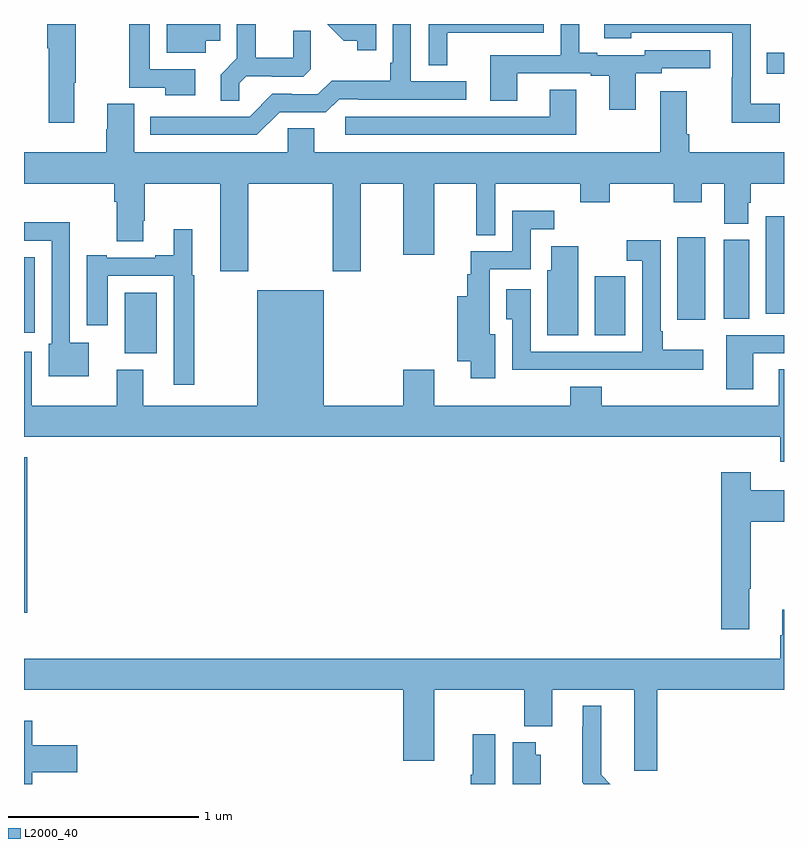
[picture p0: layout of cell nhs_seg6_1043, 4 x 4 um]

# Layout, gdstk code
import gdstk
lib = gdstk.Library(unit=1e-6, precision=1e-09)
def R(c, l, rs):  # rectangles x0, y0, x1, y1
    for r in rs: c.add(gdstk.rectangle(r[:2], r[2:], *l))
def P(c, l, *ps):  # polygons
    for p in ps: c.add(gdstk.Polygon(p, *l))
L2000_40 = (2000, 40)

nhs_seg6_1043 = lib.new_cell('nhs_seg6_1043')
R(nhs_seg6_1043, L2000_40, [(175,954.402,175.016,955.219), (175.529,955.766,175.699,956.086), (178.004,955.861,178.165,956.172), (175,955.875,175.057,956.273), (178.439,955.944,178.585,956.377), (178.682,955.948,178.816,956.364), (178.904,955.976,179,956.488), (178.909,957.239,179,957.349)])
P(nhs_seg6_1043, L2000_40, [(178.978,957.079),(178.824,957.079),(178.824,957.5),(178.053,957.5),(178.053,957.425),(178.197,957.425),(178.197,957.453),(178.728,957.453),(178.728,957.221),(178.726,957.221),(178.726,956.981),(178.978,956.981)],
  [(177.228,957.453),(177.623,957.453),(177.623,957.454),(177.736,957.454),(177.736,957.5),(177.129,957.5),(177.129,957.283),(177.228,957.283)],
  [(178.219,957.24),(178.356,957.24),(178.356,957.267),(178.612,957.267),(178.612,957.363),(178.266,957.363),(178.266,957.336),(178.018,957.336),(178.018,957.349),(177.922,957.349),(177.922,957.5),(177.825,957.5),(177.825,957.336),(177.455,957.336),(177.455,957.097),(177.595,957.097),(177.595,957.24),(177.983,957.24),(177.983,957.228),(178.079,957.228),(178.079,957.048),(178.219,957.048)],
  [(176.133,957.188),(176.17,957.225),(176.304,957.225),(176.304,957.222),(176.469,957.222),(176.51,957.263),(176.51,957.465),(176.416,957.465),(176.416,957.322),(176.219,957.322),(176.219,957.5),(176.121,957.5),(176.121,957.319),(176.035,957.233),(176.035,957.097),(176.133,957.097)],
  [(175.264,957.191),(175.272,957.191),(175.272,957.5),(175.123,957.5),(175.123,957.373),(175.13,957.373),(175.13,956.979),(175.264,956.979)],
  [(176.855,957.5),(176.597,957.5),(176.684,957.413),(176.754,957.413),(176.754,957.363),(176.855,957.363)],
  [(175.9,957.261),(175.662,957.261),(175.662,957.5),(175.554,957.5),(175.554,957.165),(175.744,957.165),(175.744,957.125),(175.9,957.125)],
  [(175.957,957.413),(176.032,957.413),(176.032,957.5),(175.751,957.5),(175.751,957.35),(175.957,957.35)],
  [(176.346,957.036),(176.589,957.036),(176.658,957.105),(176.758,957.105),(176.758,957.102),(177.328,957.102),(177.328,957.198),(177.036,957.198),(177.036,957.5),(176.94,957.5),(176.94,957.295),(176.928,957.295),(176.928,957.202),(176.62,957.202),(176.547,957.129),(176.408,957.129),(176.408,957.132),(176.307,957.132),(176.187,957.012),(175.664,957.012),(175.664,956.916),(176.226,956.916)],
  [(177.907,957.155),(177.767,957.155),(177.767,957.012),(176.691,957.012),(176.691,956.916),(177.907,956.916)],
  [(176.181,956.66),(176.626,956.66),(176.626,956.199),(176.773,956.199),(176.773,956.66),(176.996,956.66),(176.996,956.286),(177.16,956.286),(177.16,956.66),(177.38,956.66),(177.38,956.389),(177.481,956.389),(177.481,956.66),(177.928,956.66),(177.928,956.561),(178.083,956.561),(178.083,956.66),(178.42,956.66),(178.42,956.561),(178.567,956.561),(178.567,956.66),(178.685,956.66),(178.685,956.449),(178.813,956.449),(178.813,956.559),(178.826,956.559),(178.826,956.66),(179,956.66),(179,956.824),(178.502,956.824),(178.502,956.92),(178.489,956.92),(178.489,957.145),(178.349,957.145),(178.349,956.824),(176.527,956.824),(176.527,956.951),(176.388,956.951),(176.388,956.824),(175.579,956.824),(175.579,957.08),(175.439,957.08),(175.439,956.946),(175.432,956.946),(175.432,956.824),(175,956.824),(175,956.66),(175.475,956.66),(175.475,956.564),(175.487,956.564),(175.487,956.356),(175.627,956.356),(175.627,956.464),(175.635,956.464),(175.635,956.66),(176.033,956.66),(176.033,956.199),(176.181,956.199)],
  [(177.481,955.867),(177.451,955.867),(177.451,956.208),(177.666,956.208),(177.666,956.421),(177.79,956.421),(177.79,956.518),(177.57,956.518),(177.57,956.304),(177.35,956.304),(177.35,956.183),(177.333,956.183),(177.333,956.068),(177.281,956.068),(177.281,955.724),(177.35,955.724),(177.35,955.635),(177.481,955.635)],
  [(175.342,955.822),(175.242,955.822),(175.242,956.456),(175,956.456),(175,956.358),(175.146,956.358),(175.146,955.818),(175.13,955.818),(175.13,955.646),(175.342,955.646)],
  [(175.897,956.178),(175.885,956.178),(175.885,956.419),(175.787,956.419),(175.787,956.284),(175.691,956.284),(175.691,956.271),(175.435,956.271),(175.435,956.284),(175.331,956.284),(175.331,955.914),(175.441,955.914),(175.441,956.175),(175.788,956.175),(175.788,955.602),(175.897,955.602)],
  [(177.791,955.68),(178.157,955.68),(178.157,955.679),(178.576,955.679),(178.576,955.786),(178.363,955.786),(178.363,955.882),(178.35,955.882),(178.35,956.362),(178.173,956.362),(178.173,956.253),(178.254,956.253),(178.254,955.776),(177.666,955.776),(177.666,956.104),(177.539,956.104),(177.539,955.945),(177.57,955.945),(177.57,955.679),(177.791,955.679)],
  [(177.916,956.329),(177.776,956.329),(177.776,956.205),(177.755,956.205),(177.755,955.861),(177.916,955.861)],
  [(179,955.682),(178.973,955.682),(178.973,955.492),(178.04,955.492),(178.04,955.591),(177.875,955.591),(177.875,955.492),(177.16,955.492),(177.16,955.681),(176.996,955.681),(176.996,955.492),(176.578,955.492),(176.578,956.098),(176.228,956.098),(176.228,955.492),(175.627,955.492),(175.627,955.681),(175.487,955.681),(175.487,955.492),(175.042,955.492),(175.042,955.774),(175,955.774),(175,955.328),(178.979,955.328),(178.979,955.195),(179,955.195)],
  [(178.837,955.767),(179,955.767),(179,955.863),(178.697,955.863),(178.697,955.578),(178.837,955.578)],
  [(178.816,954.527),(178.824,954.527),(178.824,954.88),(179,954.88),(179,955.045),(178.824,955.045),(178.824,955.141),(178.67,955.141),(178.67,954.315),(178.816,954.315)],
  [(178.334,953.996),(179,953.996),(179,954.416),(178.991,954.416),(178.991,954.282),(178.979,954.282),(178.979,954.16),(175,954.16),(175,953.996),(176.996,953.996),(176.996,953.622),(177.16,953.622),(177.16,953.996),(177.634,953.996),(177.634,953.804),(177.781,953.804),(177.781,953.996),(178.211,953.996),(178.211,953.571),(178.334,953.571)],
  [(178.039,953.548),(178.039,953.911),(177.941,953.911),(177.941,953.801),(177.937,953.801),(177.937,953.51),(177.947,953.5),(178.086,953.5)],
  [(175.043,953.561),(175.279,953.561),(175.279,953.703),(175.043,953.703),(175.043,953.833),(175,953.833),(175,953.5),(175.043,953.5)],
  [(177.481,953.761),(177.362,953.761),(177.362,953.548),(177.35,953.548),(177.35,953.5),(177.481,953.5)],
  [(177.721,953.655),(177.694,953.655),(177.694,953.719),(177.572,953.719),(177.572,953.5),(177.721,953.5)])

lib.write_gds('nhs_seg6_1043.gds')
